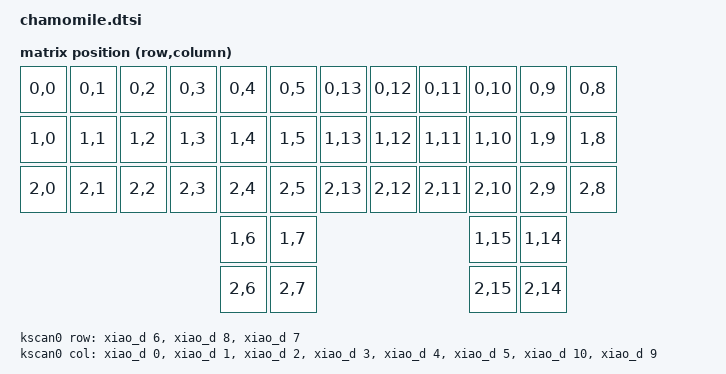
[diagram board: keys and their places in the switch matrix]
// Copyright (c) 2026 The ZMK Contributors
// SPDX-License-Identifier: MIT

#include <dt-bindings/zmk/matrix_transform.h>
#include <zephyr/dt-bindings/gpio/gpio.h>

/*
 * Pin mapping assumption
 * -----------------------
 * The ergogen source uses net names P0..P10 for column_net / row_net.
 * These line up 1:1 with the Xiao BLE's 11 broken-out GPIO pins, D0..D10,
 * which is what &xiao_d N refers to in ZMK. If your actual schematic wired
 * these nets to different physical MCU pins, update the row/col-gpios below
 * to match your board, not the net label.
 *
 * Column nets (main matrix):
 *   P0 outer   P1 pinky   P2 ring   P3 middle   P4 index   P5 inner
 * Column nets (thumb cluster):
 *   P10 thumb-left   P9 thumb-right
 * Row nets:
 *   P6 top   P8 home   P7 bottom
 *
 * Diode direction: ergogen wires switch column_net -> switch -> diode -> row_net,
 * i.e. the column is driven and the row is sensed => col2row.
 */

/ {
	chosen {
		zmk,kscan = &kscan0;
		zmk,physical-layout = &physical_layout0;
	};

	kscan0: kscan0 {
		compatible = "zmk,kscan-gpio-matrix";
		diode-direction = "col2row";
		wakeup-source;

		row-gpios
                = <&xiao_d 6 (GPIO_ACTIVE_HIGH | GPIO_PULL_DOWN)>
                , <&xiao_d 8 (GPIO_ACTIVE_HIGH | GPIO_PULL_DOWN)>
                , <&xiao_d 7 (GPIO_ACTIVE_HIGH | GPIO_PULL_DOWN)>
			;

		col-gpios
			= <&xiao_d 0 GPIO_ACTIVE_HIGH>   // P0  - col: outer
			, <&xiao_d 1 GPIO_ACTIVE_HIGH>   // P1  - col: pinky
			, <&xiao_d 2 GPIO_ACTIVE_HIGH>   // P2  - col: ring
			, <&xiao_d 3 GPIO_ACTIVE_HIGH>   // P3  - col: middle
			, <&xiao_d 4 GPIO_ACTIVE_HIGH>   // P4  - col: index
			, <&xiao_d 5 GPIO_ACTIVE_HIGH>   // P5  - col: inner
			, <&xiao_d 10 GPIO_ACTIVE_HIGH>  // P10 - col: thumb-left
			, <&xiao_d 9 GPIO_ACTIVE_HIGH>   // P9  - col: thumb-right
			;
	};

	/*
	 * Combined transform for both halves.
	 * Local column indices 0-7 per half (see kscan0 above):
	 *   0 outer, 1 pinky, 2 ring, 3 middle, 4 index, 5 inner, 6 thumb-left, 7 thumb-right
	 * The right half reports its own kscan with the same 0-7 local indices;
	 * chamomile_right.overlay applies col-offset = <8> to shift those events
	 * into columns 8-15 here, so the right half mirrors the left in this map:
	 *   8 outer, 9 pinky, 10 ring, 11 middle, 12 index, 13 inner, 14 thumb-left, 15 thumb-right
	 *
	 * Rows: 0 = top (P6), 1 = home (P8), 2 = bottom (P7)
	 */
	default_transform: keymap_transform_0 {
		compatible = "zmk,matrix-transform";
		columns = <16>;
		rows = <3>;

		map = <
//          left: outer  pinky   ring    middle  index   inner         right: inner    index    middle   ring     pinky    outer
			RC(0,0) RC(0,1) RC(0,2) RC(0,3) RC(0,4) RC(0,5)     RC(0,13) RC(0,12) RC(0,11) RC(0,10) RC(0,9) RC(0,8)
			RC(1,0) RC(1,1) RC(1,2) RC(1,3) RC(1,4) RC(1,5)     RC(1,13) RC(1,12) RC(1,11) RC(1,10) RC(1,9) RC(1,8)
			RC(2,0) RC(2,1) RC(2,2) RC(2,3) RC(2,4) RC(2,5)     RC(2,13) RC(2,12) RC(2,11) RC(2,10) RC(2,9) RC(2,8)
			                                RC(1,6) RC(1,7)                              RC(1,15) RC(1,14)
			                                RC(2,6) RC(2,7)                              RC(2,15) RC(2,14)
		>;
	};

	physical_layout0: physical_layout_0 {
		compatible = "zmk,physical-layout";
		display-name = "Default Layout";
		transform = <&default_transform>;
	};
};

&uart0 {
    status = "disabled";
};
